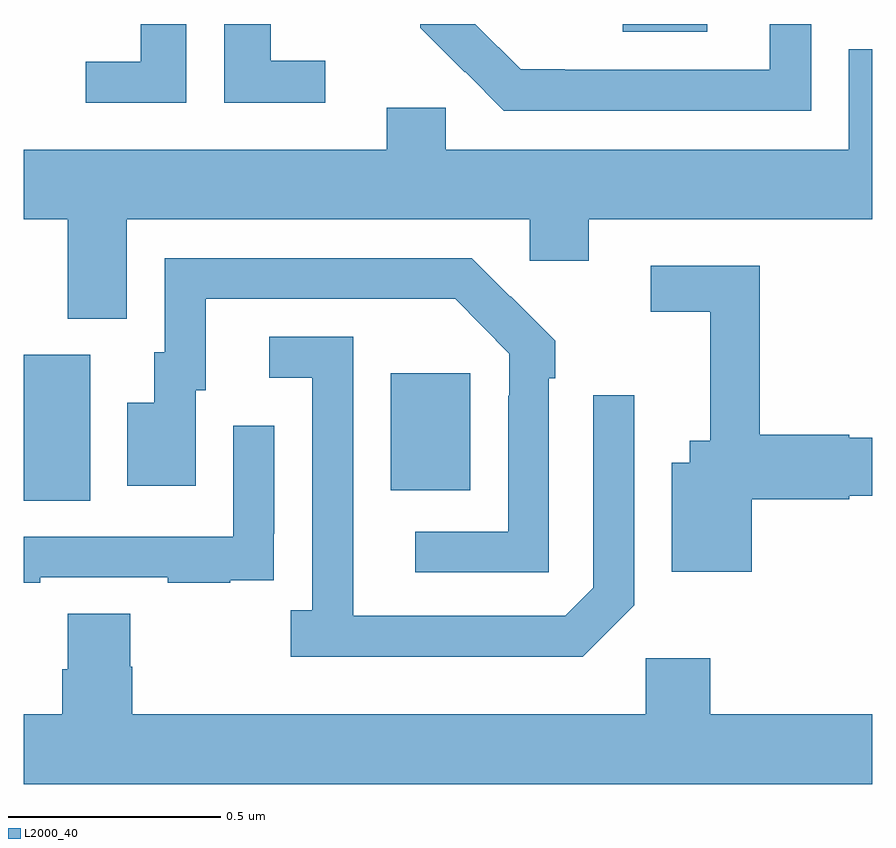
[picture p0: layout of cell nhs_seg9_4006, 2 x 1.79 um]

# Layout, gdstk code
import gdstk
lib = gdstk.Library(unit=1e-6, precision=1e-09)
def R(c, l, rs):  # rectangles x0, y0, x1, y1
    for r in rs: c.add(gdstk.rectangle(r[:2], r[2:], *l))
def P(c, l, *ps):  # polygons
    for p in ps: c.add(gdstk.Polygon(p, *l))
L2000_40 = (2000, 40)

nhs_seg9_4006 = lib.new_cell('nhs_seg9_4006')
R(nhs_seg9_4006, L2000_40, [(160,1242.376,160.156,1242.72), (160.865,1242.401,161.053,1242.676), (161.412,1243.482,161.611,1243.5)])
P(nhs_seg9_4006, L2000_40, [(161.856,1243.5),(161.759,1243.5),(161.759,1243.392),(161.275,1243.392),(161.275,1243.393),(161.172,1243.393),(161.064,1243.5),(160.935,1243.5),(160.935,1243.491),(161.04,1243.386),(161.041,1243.387),(161.132,1243.296),(161.856,1243.296)],
  [(160.383,1243.5),(160.275,1243.5),(160.275,1243.411),(160.146,1243.411),(160.146,1243.314),(160.383,1243.314)],
  [(160.711,1243.413),(160.582,1243.413),(160.582,1243.5),(160.473,1243.5),(160.473,1243.314),(160.711,1243.314)],
  [(160.243,1243.04),(161.193,1243.04),(161.193,1242.942),(161.332,1242.942),(161.332,1243.04),(162,1243.04),(162,1243.44),(161.945,1243.44),(161.945,1243.204),(160.995,1243.204),(160.995,1243.302),(160.856,1243.302),(160.856,1243.204),(160,1243.204),(160,1243.04),(160.103,1243.04),(160.103,1242.805),(160.243,1242.805)],
  [(161.238,1242.665),(161.253,1242.665),(161.253,1242.753),(161.148,1242.858),(161.147,1242.857),(161.056,1242.948),(160.332,1242.948),(160.332,1242.726),(160.307,1242.726),(160.307,1242.607),(160.244,1242.607),(160.244,1242.411),(160.405,1242.411),(160.405,1242.636),(160.429,1242.636),(160.429,1242.852),(161.017,1242.852),(161.145,1242.723),(161.145,1242.623),(161.142,1242.623),(161.142,1242.303),(160.923,1242.303),(160.923,1242.207),(161.238,1242.207)],
  [(161.716,1242.38),(161.946,1242.38),(161.946,1242.388),(162,1242.388),(162,1242.524),(161.946,1242.524),(161.946,1242.532),(161.735,1242.532),(161.735,1242.93),(161.478,1242.93),(161.478,1242.822),(161.618,1242.822),(161.618,1242.517),(161.57,1242.517),(161.57,1242.466),(161.528,1242.466),(161.528,1242.209),(161.716,1242.209)],
  [(161.439,1242.129),(161.439,1242.625),(161.343,1242.625),(161.343,1242.171),(161.277,1242.105),(160.777,1242.105),(160.777,1242.305),(160.776,1242.305),(160.776,1242.762),(160.578,1242.762),(160.578,1242.666),(160.68,1242.666),(160.68,1242.118),(160.629,1242.118),(160.629,1242.008),(161.318,1242.008)],
  [(160.039,1242.195),(160.339,1242.195),(160.339,1242.183),(160.487,1242.183),(160.487,1242.189),(160.589,1242.189),(160.589,1242.298),(160.59,1242.298),(160.59,1242.553),(160.494,1242.553),(160.494,1242.291),(160,1242.291),(160,1242.183),(160.039,1242.183)],
  [(162,1241.872),(161.618,1241.872),(161.618,1242.004),(161.466,1242.004),(161.466,1241.872),(160.256,1241.872),(160.256,1241.985),(160.251,1241.985),(160.251,1242.11),(160.103,1242.11),(160.103,1241.978),(160.091,1241.978),(160.091,1241.872),(160,1241.872),(160,1241.708),(162,1241.708)])

lib.write_gds('nhs_seg9_4006.gds')
